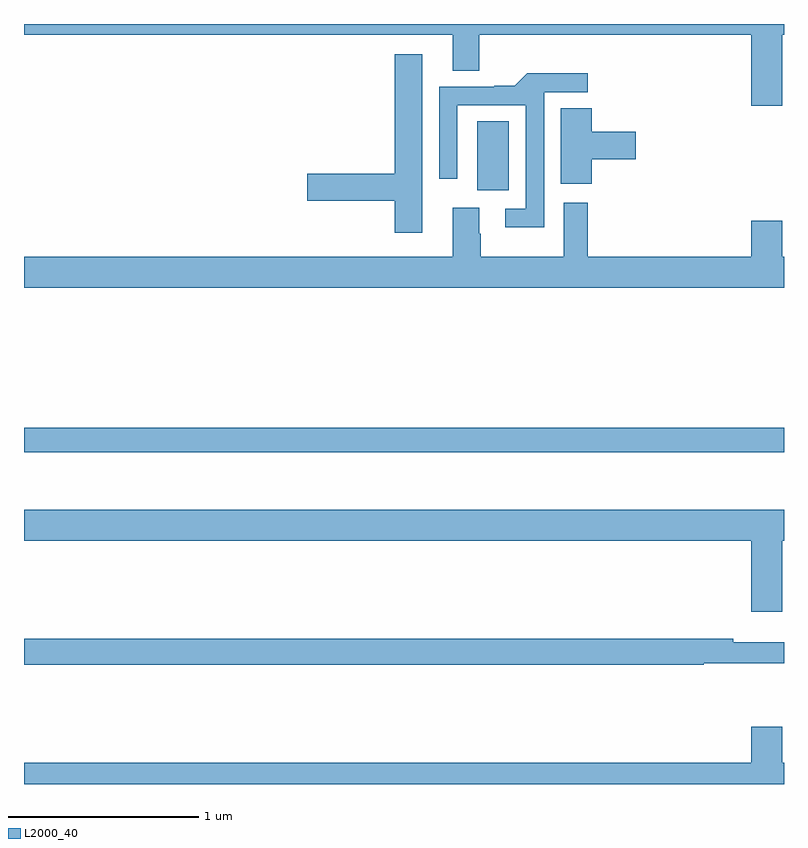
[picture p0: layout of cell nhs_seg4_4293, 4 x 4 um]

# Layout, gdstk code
import gdstk
lib = gdstk.Library(unit=1e-6, precision=1e-09)
def R(c, l, rs):  # rectangles x0, y0, x1, y1
    for r in rs: c.add(gdstk.rectangle(r[:2], r[2:], *l))
def P(c, l, *ps):  # polygons
    for p in ps: c.add(gdstk.Polygon(p, *l))
L2000_40 = (2000, 40)

nhs_seg4_4293 = lib.new_cell('nhs_seg4_4293')
R(nhs_seg4_4293, L2000_40, [(341,770.646,345,770.774), (343.385,772.026,343.552,772.388)])
P(nhs_seg4_4293, L2000_40, [(341,772.844),(343.256,772.844),(343.256,772.654),(343.396,772.654),(343.396,772.844),(344.828,772.844),(344.828,772.47),(344.992,772.47),(344.992,772.844),(345,772.844),(345,772.9),(341,772.9)],
  [(343.096,772.741),(342.95,772.741),(342.95,772.112),(342.492,772.112),(342.492,771.97),(342.95,771.97),(342.95,771.801),(343.096,771.801)],
  [(343.737,772.542),(343.966,772.542),(343.966,772.64),(343.649,772.64),(343.583,772.574),(343.475,772.574),(343.475,772.569),(343.185,772.569),(343.185,772.086),(343.281,772.086),(343.281,772.473),(343.641,772.473),(343.641,771.927),(343.533,771.927),(343.533,771.83),(343.737,771.83)],
  [(343.988,772.187),(344.221,772.187),(344.221,772.334),(343.988,772.334),(343.988,772.457),(343.826,772.457),(343.826,772.059),(343.988,772.059)],
  [(345,771.676),(344.992,771.676),(344.992,771.865),(344.828,771.865),(344.828,771.676),(343.967,771.676),(343.967,771.958),(343.841,771.958),(343.841,771.676),(343.404,771.676),(343.404,771.797),(343.396,771.797),(343.396,771.934),(343.256,771.934),(343.256,771.676),(341,771.676),(341,771.512),(345,771.512)],
  [(344.992,770.18),(345,770.18),(345,770.344),(341,770.344),(341,770.18),(344.828,770.18),(344.828,769.806),(344.992,769.806)],
  [(344.578,769.536),(345,769.536),(345,769.645),(344.732,769.645),(344.732,769.664),(341,769.664),(341,769.528),(344.578,769.528)],
  [(345,769.012),(344.992,769.012),(344.992,769.201),(344.828,769.201),(344.828,769.012),(341,769.012),(341,768.9),(345,768.9)])

lib.write_gds('nhs_seg4_4293.gds')
